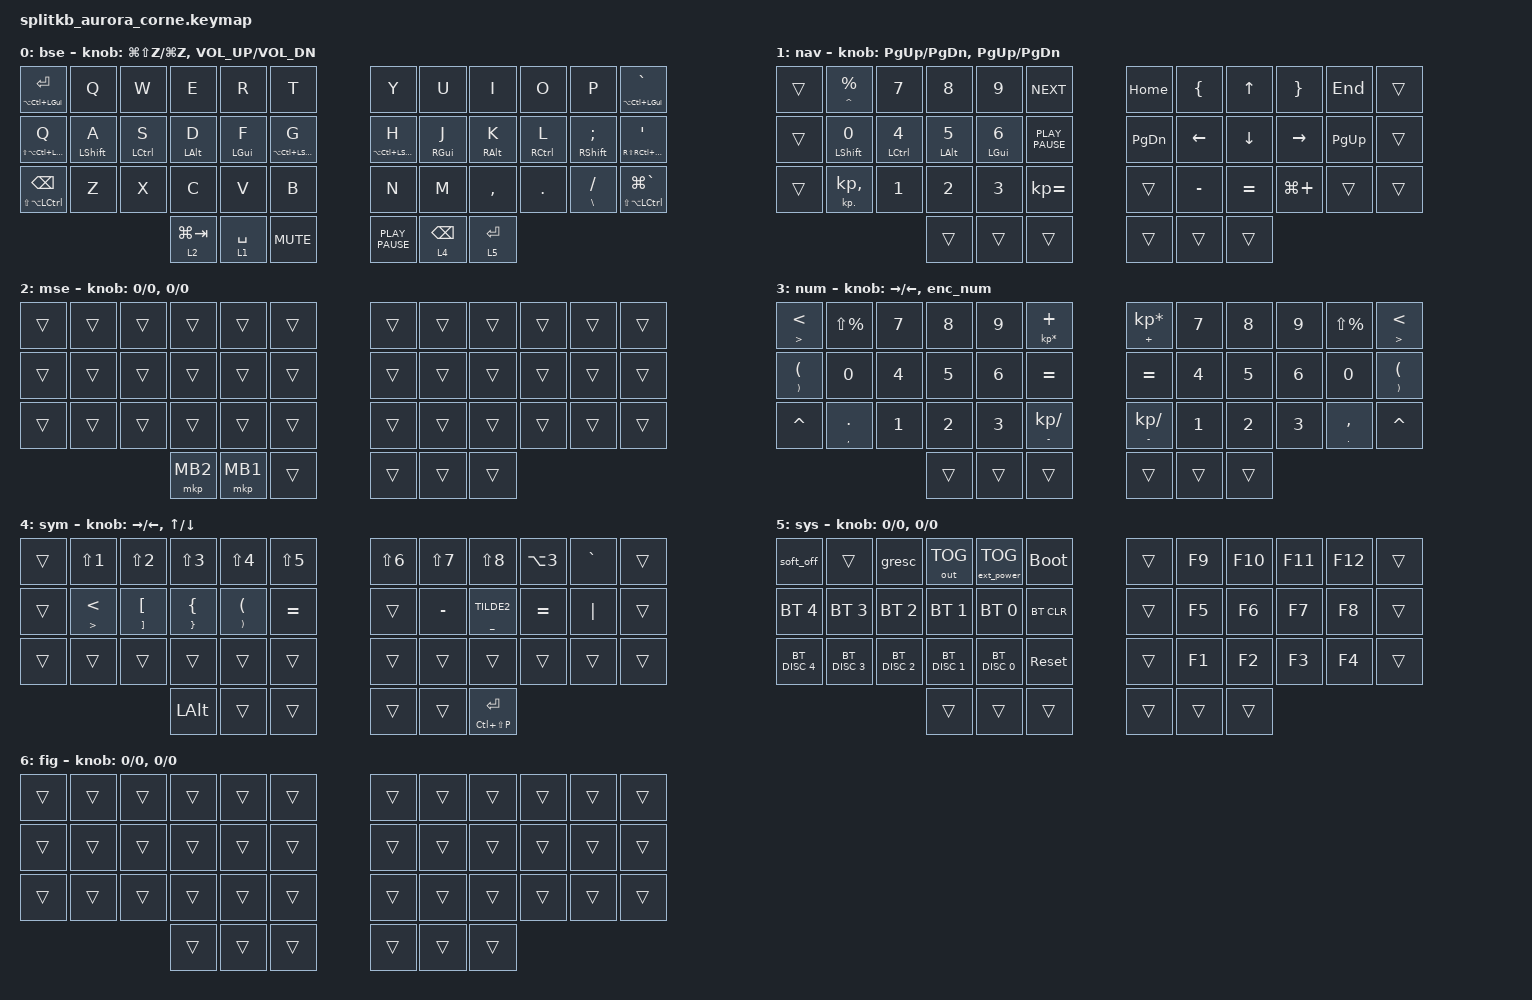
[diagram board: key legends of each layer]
/*
 * Copyright (c) 2020 The ZMK Contributors
 *
 * SPDX-License-Identifier: MIT
 */

#include <behaviors.dtsi>
#include <dt-bindings/zmk/bt.h>
#include <dt-bindings/zmk/ext_power.h>
#include <dt-bindings/zmk/keys.h>
#include <dt-bindings/zmk/mouse.h>
#include <dt-bindings/zmk/outputs.h>

// #include <dt-bindings/zmk/mouse.h>

&left_encoder { steps = <30>; };

&right_encoder { steps = <30>; };

/ {
    behaviors {
        // mouse_move: mouse_move {
        //     compatible = "zmk,behavior-mouse-move";
        //     label = "MOUSE_MOVE";
        //     #binding-cells = <1>;
        // };

        th: th {
            compatible = "zmk,behavior-hold-tap";
            label = "TAPHOLD";
            bindings = <&kp>, <&kp>;

            #binding-cells = <2>;
            tapping-term-ms = <200>;
            quick-tap-ms = <125>;
        };

        // mouse_scroll: mouse_scroll {
        //     compatible = "zmk,behavior-mouse-scroll";
        //     label = "MOUSE_SCROLL";
        //     #binding-cells = <1>;
        // };
        /* Encoder */

        enc_num: enc_num {
            compatible = "zmk,behavior-sensor-rotate";
            label = "ENC_NUM";
            #sensor-binding-cells = <0>;
            bindings = <&num_inc>, <&num_dec>;
        };

        num_inc: num_inc {
            compatible = "zmk,behavior-tap-dance";
            label = "NUM_INC";
            #binding-cells = <0>;
            bindings =
                <&kp N0>,
                <&kp N1>,
                <&kp N2>,
                <&kp N3>,
                <&kp N4>,
                <&kp N5>,
                <&kp N6>,
                <&kp N7>,
                <&kp N8>,
                <&kp N9>;
        };

        num_dec: num_dec {
            compatible = "zmk,behavior-tap-dance";
            label = "NUM_DEC";
            #binding-cells = <0>;
            bindings =
                <&kp N9>,
                <&kp N8>,
                <&kp N7>,
                <&kp N6>,
                <&kp N5>,
                <&kp N4>,
                <&kp N3>,
                <&kp N2>,
                <&kp N1>,
                <&kp N0>;
        };

        /* Home Row Mods */

        hml: hml {
            compatible = "zmk,behavior-hold-tap";
            label = "HOMEROW_MODS_LEFT_HAND";
            bindings = <&kp>, <&kp>;

            #binding-cells = <2>;
            tapping-term-ms = <200>;
            hold-trigger-key-positions = <6 7 18 30 39 40 41 31 10 8 21 19 20 34 33 32 23 22 35 11 9>;
        };

        hmr: hmr {
            compatible = "zmk,behavior-hold-tap";
            label = "HOMEROW_MODS_RIGHT_HAND";
            bindings = <&kp>, <&kp>;

            #binding-cells = <2>;
            tapping-term-ms = <200>;
            hold-trigger-key-positions = <1 12 0 13 2 3 4 5 14 16 15 17 29 38 37 36 28 27 26 25 24>;
        };

        maths: maths {
            compatible = "zmk,behavior-tap-dance";
            label = "MATHS";
            #binding-cells = <0>;
            tapping-term-ms = <200>;
            bindings =
                <&kp KP_PLUS>,
                <&kp KP_SUBTRACT>,
                <&kp KP_MULTIPLY>,
                <&kp KP_DIVIDE>,
                <&kp CARET>;
        };

        /* Send String */
        // fatarrow: fatarrow {
        //     compatible = "zmk,behavior-send-string";
        //     label = "FATARROW";
        //     #binding-cells = <0>;
        //     text = "=>";
        // };
        // tap_fatarrow: tap_fatarrow {
        //     compatible = "zmk,behavior-hold-tap";
        //     label = "TAP_FATARROW";
        //     bindings = <&tap_fatarrow>, <&kp>;
        //     #binding-cells = <2>;
        //     tapping-term-ms = <200>;
        //     flavor = "tap-preferred";
        // };
    };

    keymap {
        compatible = "zmk,keymap";

        bse {
            bindings = <
&th LA(LC(LGUI)) ENTER       &kp Q         &kp W         &kp E          &kp R        &kp T                        &kp Y                      &kp U            &kp I        &kp O         &kp P                &th LA(LC(LGUI)) GRAVE
&th LS(LA(LC(LGUI))) Q       &hml LSHFT A  &hml LCTRL S  &hml LALT D    &hml LGUI F  &hml LA(LC(LEFT_SHIFT)) G    &hmr LA(LC(LEFT_SHIFT)) H  &hmr RGUI J      &hmr RALT K  &hmr RCTRL L  &hmr RSHFT SEMI      &hmr RS(RC(RA(RGUI))) SQT
&th LS(LA(LCTRL)) BACKSPACE  &kp Z         &kp X         &kp C          &kp V        &kp B                        &kp N                      &kp M            &kp COMMA    &kp DOT       &th BACKSLASH SLASH  &th LS(LA(LCTRL)) LG(GRAVE)
                                                         &lt 2 LG(TAB)  &lt 1 SPACE  &kp K_MUTE                   &kp K_PLAY_PAUSE           &lt 4 BACKSPACE  &lt 5 RET
            >;

            sensor-bindings =
                <&inc_dec_kp LG(LS(Z)) LG(Z)>,
                <&inc_dec_kp C_VOL_UP C_VOL_DN>;
        };

        nav {
            // -----------------------------------------------------------------------------------------
            // |  TAB |  1  |  2  |  3  |  4  |  5  |   |  6  |  7  |  8  |  9  |  0  | BKSP |
            // | BTCLR| BT1 | BT2 | BT3 | BT4 | BT5 |   | LFT | DWN |  UP | RGT |     |      |
            // | SHFT |     |     |     |     |     |   |     |     |     |     |     |      |
            //                    | GUI |     | SPC |   | ENT |     | ALT |

            bindings = <
&trans  &th CARET PERCENT    &kp N7         &kp N8        &kp N9        &kp K_NEXT          &kp HOME   &kp LBRC   &kp UP     &kp RBRC      &kp END    &trans
&trans  &hml LSHFT N0        &hml LCTRL N4  &hml LALT N5  &hml LGUI N6  &kp K_PLAY_PAUSE    &kp PG_DN  &kp LEFT   &kp DOWN   &kp RIGHT     &kp PG_UP  &trans
&trans  &th KP_DOT KP_COMMA  &kp N1         &kp N2        &kp N3        &kp KP_EQUAL        &trans     &kp MINUS  &kp EQUAL  &kp LG(PLUS)  &trans     &trans
                                            &trans        &trans        &trans              &trans     &trans     &trans
            >;

            sensor-bindings =
                <&inc_dec_kp PG_UP PG_DN>,
                <&inc_dec_kp PG_UP PG_DN>;
        };

        mse {
            bindings = <
&trans  &trans  &trans  &trans    &trans    &trans    &trans  &trans  &trans  &trans  &trans  &trans
&trans  &trans  &trans  &trans    &trans    &trans    &trans  &trans  &trans  &trans  &trans  &trans
&trans  &trans  &trans  &trans    &trans    &trans    &trans  &trans  &trans  &trans  &trans  &trans
                        &mkp MB2  &mkp MB1  &trans    &trans  &trans  &trans
            >;

            sensor-bindings = <&inc_dec_kp 0 0>, <&inc_dec_kp 0 0>;
        };

        num {
            // -----------------------------------------------------------------------------------------
            // |  TAB |  !  |  @  |  #  |  $  |  %  |   |  ^  |  &  |  *  |  (  |  )  | BKSP |
            // | CTRL |     |     |     |     |     |   |  -  |  =  |  [  |  ]  |  \  |  `   |
            // | SHFT |     |     |     |     |     |   |  _  |  +  |  {  |  }  | "|" |  ~   |
            //                    | GUI |     | SPC |   | ENT |     | ALT |

            bindings = <
&th GREATER_THAN LESS_THAN              &kp LS(PRCNT)  &kp N7  &kp N8  &kp N9  &th KP_MULTIPLY PLUS    &th PLUS KP_MULTIPLY  &kp N7  &kp N8  &kp N9  &kp LS(PRCNT)  &th GREATER_THAN LESS_THAN
&th RIGHT_PARENTHESIS LEFT_PARENTHESIS  &kp N0         &kp N4  &kp N5  &kp N6  &kp EQUAL               &kp EQUAL             &kp N4  &kp N5  &kp N6  &kp N0         &th RIGHT_PARENTHESIS LEFT_PARENTHESIS
&kp CARET                               &th COMMA DOT  &kp N1  &kp N2  &kp N3  &th MINUS KP_DIVIDE     &th MINUS KP_DIVIDE   &kp N1  &kp N2  &kp N3  &th DOT COMMA  &kp CARET
                                                               &trans  &trans  &trans                  &trans                &trans  &trans
            >;

            sensor-bindings = <&inc_dec_kp RIGHT LEFT>, <&enc_num>;
        };

        sym {
            bindings = <
&trans  &kp LS(N1)  &kp LS(N2)                      &kp LS(N3)                  &kp LS(N4)                              &kp LS(N5)    &kp LS(N6)  &kp LS(N7)  &kp LS(N8)           &kp LA(N3)  &kp GRAVE  &trans
&trans  &th GT LT   &th RIGHT_BRACKET LEFT_BRACKET  &th RIGHT_BRACE LEFT_BRACE  &th RIGHT_PARENTHESIS LEFT_PARENTHESIS  &kp EQUAL     &trans      &kp MINUS   &th UNDER TILDE2     &kp EQUAL   &kp PIPE   &trans
&trans  &trans      &trans                          &trans                      &trans                                  &trans        &trans      &trans      &trans               &trans      &trans     &trans
                                                    &kp LALT                    &trans                                  &trans        &trans      &trans      &th LC(LS(P)) ENTER
            >;

            sensor-bindings = <&inc_dec_kp RIGHT LEFT>, <&inc_dec_kp UP DOWN>;
        };

        sys {
            bindings = <
&soft_off      &trans         &gresc         &out OUT_TOG   &ext_power EP_TOG  &bootloader    &trans  &kp F9  &kp F10  &kp F11  &kp F12  &trans
&bt BT_SEL 4   &bt BT_SEL 3   &bt BT_SEL 2   &bt BT_SEL 1   &bt BT_SEL 0       &bt BT_CLR     &trans  &kp F5  &kp F6   &kp F7   &kp F8   &trans
&bt BT_DISC 4  &bt BT_DISC 3  &bt BT_DISC 2  &bt BT_DISC 1  &bt BT_DISC 0      &sys_reset     &trans  &kp F1  &kp F2   &kp F3   &kp F4   &trans
                                             &trans         &trans             &trans         &trans  &trans  &trans
            >;

            sensor-bindings = <&inc_dec_kp 0 0>, <&inc_dec_kp 0 0>;
        };

        fig {
            bindings = <
&trans  &trans  &trans  &trans  &trans  &trans    &trans  &trans  &trans  &trans  &trans  &trans
&trans  &trans  &trans  &trans  &trans  &trans    &trans  &trans  &trans  &trans  &trans  &trans
&trans  &trans  &trans  &trans  &trans  &trans    &trans  &trans  &trans  &trans  &trans  &trans
                        &trans  &trans  &trans    &trans  &trans  &trans
            >;

            sensor-bindings = <&inc_dec_kp 0 0>, <&inc_dec_kp 0 0>;
        };
    };

    conditional_layers {
        compatible = "zmk,conditional-layers";

        thumbs_main {
            if-layers = <1 5>;
            then-layer = <4>;
        };

        // thumbs_alt {
        //     if-layers = <5 4>;
        //     then-layer = <7>;
        // };
    };
};
